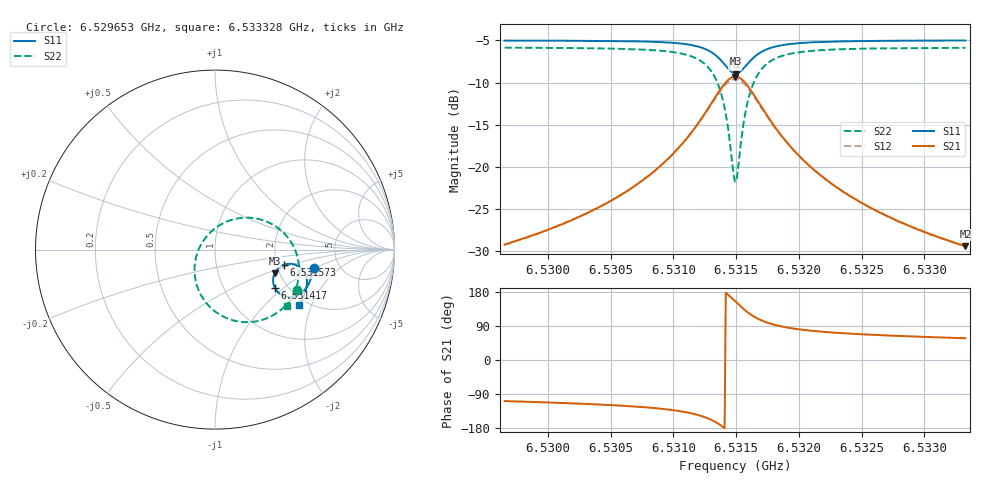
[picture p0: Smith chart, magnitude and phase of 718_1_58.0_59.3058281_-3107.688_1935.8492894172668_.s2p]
#  HZ  S  RI  R  50.00
! Rohde & Schwarz Vector Network Analyzer
! Rohde-Schwarz,ZNB20-2Port,1311601062101988,3.16
! Created: UTC 3/21/2024, 1:22:27 AM
! freq[Hz]  re:S11  im:S11  re:S21  im:S21  re:S12  im:S12  re:S22  im:S22
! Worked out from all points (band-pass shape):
!   401 points, 6.529653 GHz to 6.533328 GHz, reference 50 ohm
!   highest |S21| = -9.29 dB at 6.531491 GHz (marker M1); lowest = -29.4 dB at 6.533328 GHz (marker M2)
!   |S21| within 3 dB of the highest: 6.531309 GHz to 6.531676 GHz (366.9 kHz wide, 0.00562 % of centre)
!   lowest |S11| = -8.9 dB at 6.5315 GHz (marker M3), VSWR 2.11, Z = 94 - j28.6 ohm
!   |S11| at or under -10 dB: nowhere
!   |S22| runs from -21.7 to -5.9 dB; largest |S21 - S12| = 0.014
!   S11 on the Smith chart (normalised r, x): 6.529653 GHz: 3.23, -0.97; 6.531417 GHz: 1.72, -0.88; 6.531573 GHz: 2.19, -0.44; 6.533328 GHz: 1.82, -1.64
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6.5296533e9  0.5506 -0.1037  -0.011 -0.0328  -0.0116 -0.0327  0.4575 -0.2224
6.5302688e9  0.5368 -0.1556  -0.0222 -0.0465  -0.0234 -0.046  0.4207 -0.2804
6.5305995e9  0.524 -0.1874  -0.0358 -0.0598  -0.0375 -0.0589  0.3849 -0.3201
6.5308843e9  0.5039 -0.2196  -0.0614 -0.0784  -0.0637 -0.0765  0.3271 -0.3637
6.5311048e9  0.4714 -0.2491  -0.1096 -0.0983  -0.1125 -0.0942  0.231 -0.3996
6.531261e9  0.4206 -0.2646  -0.1887 -0.0993  -0.1904 -0.0911  0.0882 -0.3904
6.5313529e9  0.3703 -0.2519  -0.2661 -0.0607  -0.2632 -0.0493  -0.0376 -0.3099
6.5313896e9  0.3482 -0.2343  -0.2981 -0.0242  -0.2917 -0.0128  -0.0838 -0.2424
6.5314172e9  0.3342 -0.2146  -0.3168 0.0135  -0.3076 0.024  -0.1072 -0.1758
6.5314723e9  0.3242 -0.1611  -0.3227 0.1099  -0.3094 0.1148  -0.0981 -0.0172
6.5314907e9  0.3283 -0.1421  -0.3119 0.1429  -0.2984 0.1455  -0.0742 0.0344
6.5314999e9  0.332 -0.1329  -0.3038 0.1585  -0.2905 0.1599  -0.0585 0.0584
6.5315182e9  0.342 -0.1163  -0.2839 0.1868  -0.2713 0.1859  -0.0207 0.1007
6.5315733e9  0.3854 -0.0844  -0.2041 0.2391  -0.196 0.2346  0.119 0.1725
6.5316009e9  0.4085 -0.0796  -0.1633 0.2467  -0.1573 0.2419  0.1879 0.178
6.5316377e9  0.4359 -0.0814  -0.1157 0.2434  -0.1119 0.2391  0.2668 0.1639
6.5317295e9  0.4808 -0.1053  -0.0396 0.2067  -0.0379 0.2044  0.3898 0.0858
6.5318673e9  0.5064 -0.1451  0.00483 0.1509  0.00613 0.1501  0.4546 -0.025
6.5321062e9  0.5123 -0.1926  0.0221 0.0958  0.0233 0.0954  0.4678 -0.1374
6.5323634e9  0.5065 -0.2265  0.0237 0.0664  0.0247 0.0661  0.4559 -0.2022
6.5327217e9  0.494 -0.2615  0.0217 0.0456  0.0225 0.0452  0.4344 -0.2567
6.533328e9  0.4692 -0.3085  0.0182 0.0286  0.0189 0.0282  0.3989 -0.3142
